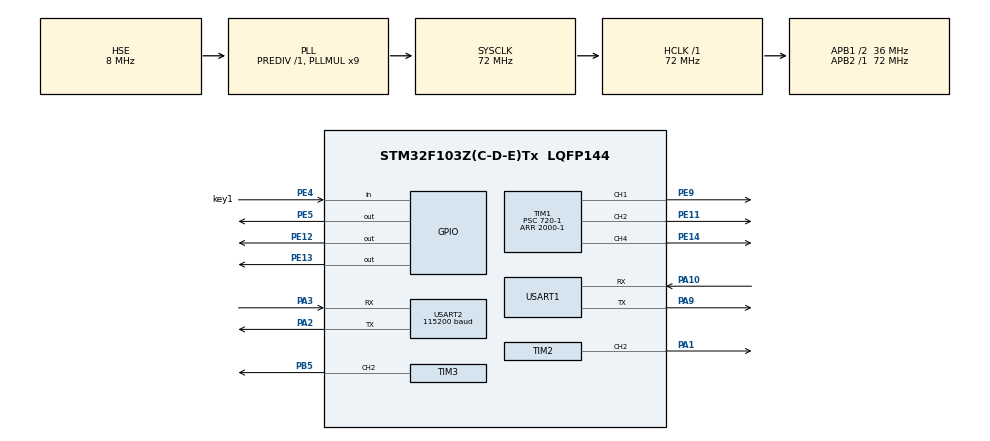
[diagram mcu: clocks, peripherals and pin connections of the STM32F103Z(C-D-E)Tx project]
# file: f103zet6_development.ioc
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Dma.Request0=USART2_RX
Dma.USART2_RX.0.Direction=DMA_PERIPH_TO_MEMORY
Dma.USART2_RX.0.Instance=DMA1_Channel6
Dma.USART2_RX.0.MemDataAlignment=DMA_MDATAALIGN_BYTE
Dma.USART2_RX.0.MemInc=DMA_MINC_ENABLE
Dma.USART2_RX.0.Mode=DMA_NORMAL
Dma.USART2_RX.0.PeriphDataAlignment=DMA_PDATAALIGN_BYTE
Dma.USART2_RX.0.PeriphInc=DMA_PINC_DISABLE
Dma.USART2_RX.0.Priority=DMA_PRIORITY_HIGH
FREERTOS.Tasks01=defaultTask,0,128,StartDefaultTask,Default,NULL,Dynamic,NULL,NULL;Communication,-3,128,StartCommunication,Default,NULL,Dynamic,NULL,NULL
FREERTOS.configTOTAL_HEAP_SIZE=20*1024
Mcu.Family=STM32F1
Mcu.Name=STM32F103Z(C-D-E)Tx
Mcu.Package=LQFP144
NVIC.DMA1_Channel6_IRQn=true\:5\:0\:false\:false\:true\:true\:false\:true\:true
NVIC.PriorityGroup=NVIC_PRIORITYGROUP_4
NVIC.TIM4_IRQn=true\:15\:0\:false\:false\:true\:false\:false\:true\:true
NVIC.TIM5_IRQn=true\:5\:0\:false\:false\:true\:true\:true\:true\:true
NVIC.TimeBase=TIM4_IRQn
NVIC.TimeBaseIP=TIM4
NVIC.USART1_IRQn=true\:5\:0\:false\:false\:true\:true\:true\:true\:true
NVIC.USART2_IRQn=true\:5\:0\:false\:false\:true\:true\:true\:true\:true
OSC_IN.Mode=HSE-External-Oscillator
OSC_IN.Signal=RCC_OSC_IN
OSC_OUT.Mode=HSE-External-Oscillator
OSC_OUT.Signal=RCC_OSC_OUT
PA1.Signal=S_TIM2_CH2
PA10.Mode=Asynchronous
PA10.Signal=USART1_RX
PA13.Mode=Serial_Wire
PA13.Signal=SYS_JTMS-SWDIO
PA14.Mode=Serial_Wire
PA14.Signal=SYS_JTCK-SWCLK
PA2.Mode=Asynchronous
PA2.Signal=USART2_TX
PA3.Mode=Asynchronous
PA3.Signal=USART2_RX
PA9.Mode=Asynchronous
PA9.Signal=USART1_TX
PB5.Signal=S_TIM3_CH2
PC14-OSC32_IN.Mode=LSE-External-Clock-Source
PC14-OSC32_IN.Signal=RCC_OSC32_IN
PC15-OSC32_OUT.Mode=LSE-External-Clock-Source
PC15-OSC32_OUT.Signal=RCC_OSC32_OUT
PE11.Signal=S_TIM1_CH2
PE12.Signal=GPIO_Output
PE13.Signal=GPIO_Output
PE14.Signal=S_TIM1_CH4
PE4.GPIO_Label=key1
PE4.GPIO_PuPd=GPIO_PULLUP
PE4.Signal=GPIO_Input
PE5.PinState=GPIO_PIN_RESET
PE5.Signal=GPIO_Output
PE9.Signal=S_TIM1_CH1
ProjectManager.HeapSize=0x200
ProjectManager.StackSize=0x400
ProjectManager.TargetToolchain=CMake
RCC.AHBFreq_Value=72000000
RCC.APB1CLKDivider=RCC_HCLK_DIV2
RCC.APB1Freq_Value=36000000
RCC.APB1TimFreq_Value=72000000
RCC.APB2Freq_Value=72000000
RCC.APB2TimFreq_Value=72000000
RCC.HCLKFreq_Value=72000000
RCC.PLLMUL=RCC_PLL_MUL9
RCC.PLLSourceVirtual=RCC_PLLSOURCE_HSE
RCC.SYSCLKFreq_VALUE=72000000
RCC.SYSCLKSource=RCC_SYSCLKSOURCE_PLLCLK
RCC.USBFreq_Value=72000000
SH.S_TIM1_CH1.0=TIM1_CH1,PWM Generation1 CH1
SH.S_TIM1_CH2.0=TIM1_CH2,PWM Generation2 CH2
SH.S_TIM1_CH4.0=TIM1_CH4,PWM Generation4 CH4
SH.S_TIM2_CH2.0=TIM2_CH2,PWM Generation2 CH2
SH.S_TIM3_CH2.0=TIM3_CH2,PWM Generation2 CH2
TIM1.AutoReloadPreload=TIM_AUTORELOAD_PRELOAD_ENABLE
TIM1.Channel-PWM\ Generation1\ CH1=TIM_CHANNEL_1
TIM1.Channel-PWM\ Generation2\ CH2=TIM_CHANNEL_2
TIM1.Channel-PWM\ Generation4\ CH4=TIM_CHANNEL_4
TIM1.Period=2000-1
TIM1.Prescaler=720-1
TIM2.Channel-PWM\ Generation2\ CH2=TIM_CHANNEL_2
TIM2.Period=7200-1
TIM2.Prescaler=20-1
TIM2.TIM_MasterOutputTrigger=TIM_TRGO_UPDATE
TIM2.TIM_MasterSlaveMode=TIM_MASTERSLAVEMODE_ENABLE
TIM3.AutoReloadPreload=TIM_AUTORELOAD_PRELOAD_ENABLE
TIM3.Channel-PWM\ Generation2\ CH2=TIM_CHANNEL_2
TIM3.OCPolarity_2=TIM_OCPOLARITY_LOW
TIM3.Period=2000-1
TIM3.Prescaler=720-1
TIM3.TIM_MasterOutputTrigger=TIM_TRGO_RESET
USART1.VirtualMode=VM_ASYNC
USART2.BaudRate=115200
USART2.VirtualMode=VM_ASYNC
VP_FREERTOS_VS_CMSIS_V1.Mode=CMSIS_V1
VP_SYS_VS_tim4.Mode=TIM4
VP_TIM1_VS_ClockSourceINT.Mode=Internal
VP_TIM2_VS_ClockSourceINT.Mode=Internal
VP_TIM3_VS_ClockSourceINT.Mode=Internal
VP_TIM5_VS_ClockSourceITR.Mode=TriggerSource_ITR0
VP_TIM5_VS_ControllerModeClock.Mode=Clock Mode
board=custom

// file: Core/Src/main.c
/* USER CODE BEGIN Header */
/**
  ******************************************************************************
  * @file           : main.c
  * @brief          : Main program body
  ******************************************************************************
  * @attention
  *
  * Copyright (c) 2026 STMicroelectronics.
  * All rights reserved.
  *
  * This software is licensed under terms that can be found in the LICENSE file
  * in the root directory of this software component.
  * If no LICENSE file comes with this software, it is provided AS-IS.
  *
  ******************************************************************************
  */
/* USER CODE END Header */
#include "main.h"
#include "cmsis_os.h"

/* USER CODE BEGIN Includes */
#include "serial.h"
#include "serial_test.h"
#include "servo_test.h"
#include "pwm_test.h"
#include "stm32f1xx_hal_gpio.h"
#include "stm32f1xx_hal_tim.h"
#include "service.h"
#include"global.h"
#include"step.h"
/* USER CODE END Includes */

TIM_HandleTypeDef htim1;
TIM_HandleTypeDef htim2;
TIM_HandleTypeDef htim3;
TIM_HandleTypeDef htim5;

UART_HandleTypeDef huart1;
UART_HandleTypeDef huart2;
DMA_HandleTypeDef hdma_usart2_rx;

osThreadId defaultTaskHandle;
osThreadId CommunicationHandle;
/* USER CODE BEGIN PV */
extern Plus* plus0;
/* USER CODE END PV */

void SystemClock_Config(void);
static void MX_GPIO_Init(void);
static void MX_DMA_Init(void);
static void MX_TIM1_Init(void);
static void MX_TIM3_Init(void);
static void MX_USART1_UART_Init(void);
static void MX_USART2_UART_Init(void);
static void MX_TIM2_Init(void);
static void MX_TIM5_Init(void);
void StartDefaultTask(void const * argument);
void StartCommunication(void const * argument);

int main(void)
{

  /* MCU Configuration--------------------------------------------------------*/

  /* Reset of all peripherals, Initializes the Flash interface and the Systick. */
  HAL_Init();

  /* Configure the system clock */
  SystemClock_Config();

  /* Initialize all configured peripherals */
  MX_GPIO_Init();
  MX_DMA_Init();
  MX_TIM1_Init();
  MX_TIM3_Init();
  MX_USART1_UART_Init();
  MX_USART2_UART_Init();
  MX_TIM2_Init();
  MX_TIM5_Init();
  /* USER CODE BEGIN 2 */
  GlobalInit();
  /* USER CODE END 2 */

  /* Create the thread(s) */
  /* definition and creation of defaultTask */
  osThreadDef(defaultTask, StartDefaultTask, osPriorityNormal, 0, 128);
  defaultTaskHandle = osThreadCreate(osThread(defaultTask), NULL);

  /* definition and creation of Communication */
  osThreadDef(Communication, StartCommunication, osPriorityIdle, 0, 128);
  CommunicationHandle = osThreadCreate(osThread(Communication), NULL);

  /* Start scheduler */
  osKernelStart();

  /* We should never get here as control is now taken by the scheduler */

  /* Infinite loop */
  while (1)
  {

  }
}

void SystemClock_Config(void)
{
  RCC_OscInitTypeDef RCC_OscInitStruct = {0};
  RCC_ClkInitTypeDef RCC_ClkInitStruct = {0};

  /** Initializes the RCC Oscillators according to the specified parameters
  * in the RCC_OscInitTypeDef structure.
  */
  RCC_OscInitStruct.OscillatorType = RCC_OSCILLATORTYPE_HSE;
  RCC_OscInitStruct.HSEState = RCC_HSE_ON;
  RCC_OscInitStruct.HSEPredivValue = RCC_HSE_PREDIV_DIV1;
  RCC_OscInitStruct.HSIState = RCC_HSI_ON;
  RCC_OscInitStruct.PLL.PLLState = RCC_PLL_ON;
  RCC_OscInitStruct.PLL.PLLSource = RCC_PLLSOURCE_HSE;
  RCC_OscInitStruct.PLL.PLLMUL = RCC_PLL_MUL9;
  if (HAL_RCC_OscConfig(&RCC_OscInitStruct) != HAL_OK)
  {
    Error_Handler();
  }

  /** Initializes the CPU, AHB and APB buses clocks
  */
  RCC_ClkInitStruct.ClockType = RCC_CLOCKTYPE_HCLK|RCC_CLOCKTYPE_SYSCLK
                              |RCC_CLOCKTYPE_PCLK1|RCC_CLOCKTYPE_PCLK2;
  RCC_ClkInitStruct.SYSCLKSource = RCC_SYSCLKSOURCE_PLLCLK;
  RCC_ClkInitStruct.AHBCLKDivider = RCC_SYSCLK_DIV1;
  RCC_ClkInitStruct.APB1CLKDivider = RCC_HCLK_DIV2;
  RCC_ClkInitStruct.APB2CLKDivider = RCC_HCLK_DIV1;

  if (HAL_RCC_ClockConfig(&RCC_ClkInitStruct, FLASH_LATENCY_2) != HAL_OK)
  {
    Error_Handler();
  }
}

static void MX_TIM1_Init(void)
{

  TIM_ClockConfigTypeDef sClockSourceConfig = {0};
  TIM_MasterConfigTypeDef sMasterConfig = {0};
  TIM_OC_InitTypeDef sConfigOC = {0};
  TIM_BreakDeadTimeConfigTypeDef sBreakDeadTimeConfig = {0};

  htim1.Instance = TIM1;
  htim1.Init.Prescaler = 720-1;
  htim1.Init.CounterMode = TIM_COUNTERMODE_UP;
  htim1.Init.Period = 2000-1;
  htim1.Init.ClockDivision = TIM_CLOCKDIVISION_DIV1;
  htim1.Init.RepetitionCounter = 0;
  htim1.Init.AutoReloadPreload = TIM_AUTORELOAD_PRELOAD_ENABLE;
  if (HAL_TIM_Base_Init(&htim1) != HAL_OK)
  {
    Error_Handler();
  }
  sClockSourceConfig.ClockSource = TIM_CLOCKSOURCE_INTERNAL;
  if (HAL_TIM_ConfigClockSource(&htim1, &sClockSourceConfig) != HAL_OK)
  {
    Error_Handler();
  }
  if (HAL_TIM_PWM_Init(&htim1) != HAL_OK)
  {
    Error_Handler();
  }
  sMasterConfig.MasterOutputTrigger = TIM_TRGO_RESET;
  sMasterConfig.MasterSlaveMode = TIM_MASTERSLAVEMODE_DISABLE;
  if (HAL_TIMEx_MasterConfigSynchronization(&htim1, &sMasterConfig) != HAL_OK)
  {
    Error_Handler();
  }
  sConfigOC.OCMode = TIM_OCMODE_PWM1;
  sConfigOC.Pulse = 0;
  sConfigOC.OCPolarity = TIM_OCPOLARITY_HIGH;
  sConfigOC.OCNPolarity = TIM_OCNPOLARITY_HIGH;
  sConfigOC.OCFastMode = TIM_OCFAST_DISABLE;
  sConfigOC.OCIdleState = TIM_OCIDLESTATE_RESET;
  sConfigOC.OCNIdleState = TIM_OCNIDLESTATE_RESET;
  if (HAL_TIM_PWM_ConfigChannel(&htim1, &sConfigOC, TIM_CHANNEL_1) != HAL_OK)
  {
    Error_Handler();
  }
  if (HAL_TIM_PWM_ConfigChannel(&htim1, &sConfigOC, TIM_CHANNEL_2) != HAL_OK)
  {
    Error_Handler();
  }
  if (HAL_TIM_PWM_ConfigChannel(&htim1, &sConfigOC, TIM_CHANNEL_4) != HAL_OK)
  {
    Error_Handler();
  }
  sBreakDeadTimeConfig.OffStateRunMode = TIM_OSSR_DISABLE;
  sBreakDeadTimeConfig.OffStateIDLEMode = TIM_OSSI_DISABLE;
  sBreakDeadTimeConfig.LockLevel = TIM_LOCKLEVEL_OFF;
  sBreakDeadTimeConfig.DeadTime = 0;
  sBreakDeadTimeConfig.BreakState = TIM_BREAK_DISABLE;
  sBreakDeadTimeConfig.BreakPolarity = TIM_BREAKPOLARITY_HIGH;
  sBreakDeadTimeConfig.AutomaticOutput = TIM_AUTOMATICOUTPUT_DISABLE;
  if (HAL_TIMEx_ConfigBreakDeadTime(&htim1, &sBreakDeadTimeConfig) != HAL_OK)
  {
    Error_Handler();
  }
  HAL_TIM_MspPostInit(&htim1);

}

static void MX_TIM2_Init(void)
{

  TIM_ClockConfigTypeDef sClockSourceConfig = {0};
  TIM_MasterConfigTypeDef sMasterConfig = {0};
  TIM_OC_InitTypeDef sConfigOC = {0};

  htim2.Instance = TIM2;
  htim2.Init.Prescaler = 20-1;
  htim2.Init.CounterMode = TIM_COUNTERMODE_UP;
  htim2.Init.Period = 7200-1;
  htim2.Init.ClockDivision = TIM_CLOCKDIVISION_DIV1;
  htim2.Init.AutoReloadPreload = TIM_AUTORELOAD_PRELOAD_DISABLE;
  if (HAL_TIM_Base_Init(&htim2) != HAL_OK)
  {
    Error_Handler();
  }
  sClockSourceConfig.ClockSource = TIM_CLOCKSOURCE_INTERNAL;
  if (HAL_TIM_ConfigClockSource(&htim2, &sClockSourceConfig) != HAL_OK)
  {
    Error_Handler();
  }
  if (HAL_TIM_PWM_Init(&htim2) != HAL_OK)
  {
    Error_Handler();
  }
  sMasterConfig.MasterOutputTrigger = TIM_TRGO_UPDATE;
  sMasterConfig.MasterSlaveMode = TIM_MASTERSLAVEMODE_ENABLE;
  if (HAL_TIMEx_MasterConfigSynchronization(&htim2, &sMasterConfig) != HAL_OK)
  {
    Error_Handler();
  }
  sConfigOC.OCMode = TIM_OCMODE_PWM1;
  sConfigOC.Pulse = 0;
  sConfigOC.OCPolarity = TIM_OCPOLARITY_HIGH;
  sConfigOC.OCFastMode = TIM_OCFAST_DISABLE;
  if (HAL_TIM_PWM_ConfigChannel(&htim2, &sConfigOC, TIM_CHANNEL_2) != HAL_OK)
  {
    Error_Handler();
  }
  HAL_TIM_MspPostInit(&htim2);

}

static void MX_TIM3_Init(void)
{

  TIM_ClockConfigTypeDef sClockSourceConfig = {0};
  TIM_MasterConfigTypeDef sMasterConfig = {0};
  TIM_OC_InitTypeDef sConfigOC = {0};

  htim3.Instance = TIM3;
  htim3.Init.Prescaler = 720-1;
  htim3.Init.CounterMode = TIM_COUNTERMODE_UP;
  htim3.Init.Period = 2000-1;
  htim3.Init.ClockDivision = TIM_CLOCKDIVISION_DIV1;
  htim3.Init.AutoReloadPreload = TIM_AUTORELOAD_PRELOAD_ENABLE;
  if (HAL_TIM_Base_Init(&htim3) != HAL_OK)
  {
    Error_Handler();
  }
  sClockSourceConfig.ClockSource = TIM_CLOCKSOURCE_INTERNAL;
  if (HAL_TIM_ConfigClockSource(&htim3, &sClockSourceConfig) != HAL_OK)
  {
    Error_Handler();
  }
  if (HAL_TIM_PWM_Init(&htim3) != HAL_OK)
  {
    Error_Handler();
  }
  sMasterConfig.MasterOutputTrigger = TIM_TRGO_RESET;
  sMasterConfig.MasterSlaveMode = TIM_MASTERSLAVEMODE_DISABLE;
  if (HAL_TIMEx_MasterConfigSynchronization(&htim3, &sMasterConfig) != HAL_OK)
  {
    Error_Handler();
  }
  sConfigOC.OCMode = TIM_OCMODE_PWM1;
  sConfigOC.Pulse = 0;
  sConfigOC.OCPolarity = TIM_OCPOLARITY_LOW;
  sConfigOC.OCFastMode = TIM_OCFAST_DISABLE;
  if (HAL_TIM_PWM_ConfigChannel(&htim3, &sConfigOC, TIM_CHANNEL_2) != HAL_OK)
  {
    Error_Handler();
  }
  HAL_TIM_MspPostInit(&htim3);

}

static void MX_TIM5_Init(void)
{

  TIM_SlaveConfigTypeDef sSlaveConfig = {0};
  TIM_MasterConfigTypeDef sMasterConfig = {0};

  htim5.Instance = TIM5;
  htim5.Init.Prescaler = 0;
  htim5.Init.CounterMode = TIM_COUNTERMODE_UP;
  htim5.Init.Period = 65535;
  htim5.Init.ClockDivision = TIM_CLOCKDIVISION_DIV1;
  htim5.Init.AutoReloadPreload = TIM_AUTORELOAD_PRELOAD_DISABLE;
  if (HAL_TIM_Base_Init(&htim5) != HAL_OK)
  {
    Error_Handler();
  }
  sSlaveConfig.SlaveMode = TIM_SLAVEMODE_EXTERNAL1;
  sSlaveConfig.InputTrigger = TIM_TS_ITR0;
  if (HAL_TIM_SlaveConfigSynchro(&htim5, &sSlaveConfig) != HAL_OK)
  {
    Error_Handler();
  }
  sMasterConfig.MasterOutputTrigger = TIM_TRGO_RESET;
  sMasterConfig.MasterSlaveMode = TIM_MASTERSLAVEMODE_DISABLE;
  if (HAL_TIMEx_MasterConfigSynchronization(&htim5, &sMasterConfig) != HAL_OK)
  {
    Error_Handler();
  }

}

static void MX_USART1_UART_Init(void)
{

  huart1.Instance = USART1;
  huart1.Init.BaudRate = 115200;
  huart1.Init.WordLength = UART_WORDLENGTH_8B;
  huart1.Init.StopBits = UART_STOPBITS_1;
  huart1.Init.Parity = UART_PARITY_NONE;
  huart1.Init.Mode = UART_MODE_TX_RX;
  huart1.Init.HwFlowCtl = UART_HWCONTROL_NONE;
  huart1.Init.OverSampling = UART_OVERSAMPLING_16;
  if (HAL_UART_Init(&huart1) != HAL_OK)
  {
    Error_Handler();
  }
  /* USER CODE BEGIN USART1_Init 2 */
  /* serial1 在 main 中统一初始化 */
  /* USER CODE END USART1_Init 2 */

}

static void MX_USART2_UART_Init(void)
{

  huart2.Instance = USART2;
  huart2.Init.BaudRate = 115200;
  huart2.Init.WordLength = UART_WORDLENGTH_8B;
  huart2.Init.StopBits = UART_STOPBITS_1;
  huart2.Init.Parity = UART_PARITY_NONE;
  huart2.Init.Mode = UART_MODE_TX_RX;
  huart2.Init.HwFlowCtl = UART_HWCONTROL_NONE;
  huart2.Init.OverSampling = UART_OVERSAMPLING_16;
  if (HAL_UART_Init(&huart2) != HAL_OK)
  {
    Error_Handler();
  }

}

static void MX_DMA_Init(void)
{

  /* DMA controller clock enable */
  __HAL_RCC_DMA1_CLK_ENABLE();

  /* DMA interrupt init */
  /* DMA1_Channel6_IRQn interrupt configuration */
  HAL_NVIC_SetPriority(DMA1_Channel6_IRQn, 5, 0);
  HAL_NVIC_EnableIRQ(DMA1_Channel6_IRQn);

}

static void MX_GPIO_Init(void)
{
  GPIO_InitTypeDef GPIO_InitStruct = {0};

  /* GPIO Ports Clock Enable */
  __HAL_RCC_GPIOE_CLK_ENABLE();
  __HAL_RCC_GPIOC_CLK_ENABLE();
  __HAL_RCC_GPIOA_CLK_ENABLE();
  __HAL_RCC_GPIOB_CLK_ENABLE();

  /*Configure GPIO pin Output Level */
  HAL_GPIO_WritePin(GPIOE, GPIO_PIN_5|GPIO_PIN_12|GPIO_PIN_13, GPIO_PIN_RESET);

  /*Configure GPIO pin : key1_Pin */
  GPIO_InitStruct.Pin = key1_Pin;
  GPIO_InitStruct.Mode = GPIO_MODE_INPUT;
  GPIO_InitStruct.Pull = GPIO_PULLUP;
  HAL_GPIO_Init(key1_GPIO_Port, &GPIO_InitStruct);

  /*Configure GPIO pins : PE5 PE12 PE13 */
  GPIO_InitStruct.Pin = GPIO_PIN_5|GPIO_PIN_12|GPIO_PIN_13;
  GPIO_InitStruct.Mode = GPIO_MODE_OUTPUT_PP;
  GPIO_InitStruct.Pull = GPIO_NOPULL;
  GPIO_InitStruct.Speed = GPIO_SPEED_FREQ_LOW;
  HAL_GPIO_Init(GPIOE, &GPIO_InitStruct);

}

void StartDefaultTask(void const * argument)
{
  /* USER CODE BEGIN 5 */
  /* Infinite loop */
  for(;;)
  {
    /* LED 闪烁指示系统运行 */
    ServiceExec();
    osDelay(100);
  }
  /* USER CODE END 5 */
}

void StartCommunication(void const * argument)
{
  /* USER CODE BEGIN StartCommunication */
  /* Infinite loop */
  for(;;)
  {
    ServiceCommHanlder();
    osDelay(100);
  }
  /* USER CODE END StartCommunication */
}

void HAL_TIM_PeriodElapsedCallback(TIM_HandleTypeDef *htim)
{
  if (htim->Instance == TIM4)
  {
    HAL_IncTick();
  }
  /* USER CODE BEGIN Callback 1 */
  if(htim==&htim5){
    PlusStop(plus0);
    // const char msg[]="plus stop";
    // ServiceComm(msg,strlen(msg));
  }
  /* USER CODE END Callback 1 */
}

void Error_Handler(void)
{
  __disable_irq();
  while (1)
  {
  }
}
